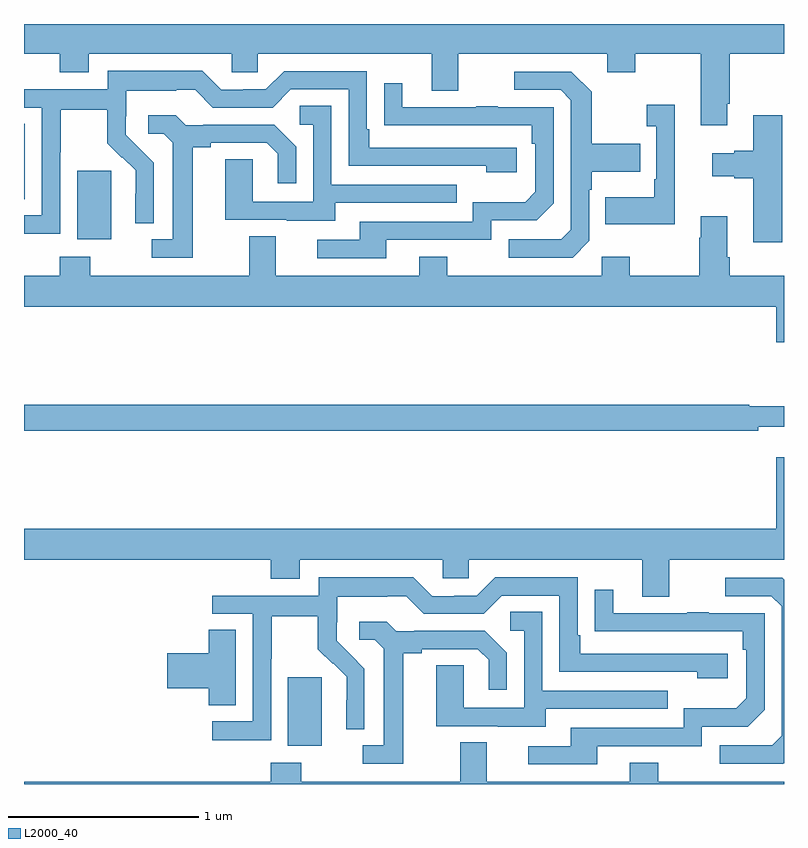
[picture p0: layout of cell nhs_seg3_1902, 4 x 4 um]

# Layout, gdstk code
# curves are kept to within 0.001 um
import gdstk
lib = gdstk.Library(unit=1e-6, precision=1e-09)
def R(c, l, rs):  # rectangles x0, y0, x1, y1
    for r in rs: c.add(gdstk.rectangle(r[:2], r[2:], *l))
def P(c, l, *ps):  # polygons
    for p in ps: c.add(gdstk.Polygon(p, *l))
L2000_40 = (2000, 40)

nhs_seg3_1902 = lib.new_cell('nhs_seg3_1902')
R(nhs_seg3_1902, L2000_40, [(210.389,702.602,210.568,702.963), (209.279,705.266,209.458,705.627), (209,705.478,209.005,705.875)])
P(nhs_seg3_1902, L2000_40, [(212.701,705.979),(212.714,705.979),(212.714,706.244),(213,706.244),(213,706.4),(209,706.4),(209,706.244),(209.189,706.244),(209.189,706.145),(209.341,706.145),(209.341,706.244),(210.093,706.244),(210.093,706.146),(210.231,706.146),(210.231,706.244),(211.145,706.244),(211.145,706.05),(211.285,706.05),(211.285,706.244),(212.069,706.244),(212.069,706.145),(212.217,706.145),(212.217,706.244),(212.561,706.244),(212.561,705.867),(212.701,705.867)],
  [(209.19,705.724),(209.193,705.724),(209.193,705.948),(209.437,705.948),(209.437,705.773),(209.514,705.696),(209.517,705.699),(209.588,705.629),(209.588,705.506),(209.586,705.506),(209.586,705.352),(209.682,705.352),(209.682,705.67),(209.536,705.818),(209.536,705.915),(209.538,705.915),(209.538,706.049),(209.801,706.049),(209.801,706.053),(209.901,706.053),(209.994,705.96),(210.309,705.96),(210.405,706.056),(210.708,706.056),(210.708,705.654),(211.433,705.654),(211.433,705.62),(211.594,705.62),(211.594,705.75),(210.817,705.75),(210.817,705.847),(210.804,705.847),(210.804,706.152),(210.369,706.152),(210.273,706.056),(210.155,706.056),(210.155,706.053),(210.039,706.053),(209.939,706.153),(209.442,706.153),(209.442,706.056),(209,706.056),(209,705.96),(209.094,705.96),(209.094,705.393),(209,705.393),(209,705.295),(209.19,705.295)],
  [(211.974,705.258),(211.974,705.527),(211.987,705.527),(211.987,705.623),(212.243,705.623),(212.243,705.771),(211.987,705.771),(211.987,706.043),(211.881,706.149),(211.581,706.149),(211.581,706.053),(211.824,706.053),(211.878,705.999),(211.878,705.318),(211.827,705.267),(211.551,705.267),(211.551,705.171),(211.887,705.171)],
  [(210.907,705.264),(211.458,705.264),(211.458,705.366),(211.698,705.366),(211.788,705.456),(211.788,705.963),(211.493,705.963),(211.493,705.968),(211.381,705.968),(211.381,705.963),(210.991,705.963),(210.991,706.087),(210.895,706.087),(210.895,705.868),(211.672,705.867),(211.672,705.77),(211.692,705.77),(211.692,705.516),(211.639,705.463),(211.362,705.463),(211.362,705.36),(210.767,705.36),(210.767,705.264),(210.543,705.264),(210.543,705.168),(210.907,705.168)],
  [(212.426,705.976),(212.277,705.976),(212.277,705.863),(212.328,705.863),(212.328,705.583),(212.316,705.583),(212.316,705.487),(212.059,705.487),(212.059,705.347),(212.426,705.347)],
  [(210.637,705.459),(211.277,705.459),(211.277,705.555),(210.618,705.555),(210.618,705.971),(210.45,705.971),(210.45,705.87),(210.522,705.87),(210.522,705.465),(210.204,705.465),(210.204,705.689),(210.059,705.689),(210.059,705.369),(210.383,705.369),(210.383,705.365),(210.637,705.365)],
  [(209.887,705.752),(209.983,705.752),(209.983,705.774),(210.278,705.774),(210.335,705.717),(210.335,705.561),(210.432,705.561),(210.432,705.754),(210.316,705.87),(209.944,705.87),(209.944,705.867),(209.85,705.867),(209.798,705.919),(209.655,705.919),(209.655,705.822),(209.736,705.822),(209.783,705.775),(209.783,705.267),(209.673,705.267),(209.673,705.171),(209.887,705.171)],
  [(212.992,705.919),(212.837,705.919),(212.837,705.734),(212.738,705.734),(212.738,705.721),(212.622,705.721),(212.622,705.599),(212.738,705.599),(212.738,705.587),(212.837,705.587),(212.837,705.252),(212.992,705.252)],
  [(213,705.076),(212.714,705.076),(212.714,705.172),(212.701,705.172),(212.701,705.388),(212.561,705.388),(212.561,705.275),(212.554,705.275),(212.554,705.076),(212.187,705.076),(212.187,705.175),(212.04,705.175),(212.04,705.076),(211.227,705.076),(211.227,705.175),(211.079,705.175),(211.079,705.076),(210.325,705.076),(210.325,705.284),(210.185,705.284),(210.185,705.076),(209.349,705.076),(209.349,705.175),(209.189,705.175),(209.189,705.076),(209,705.076),(209,704.912),(212.96,704.912),(212.96,704.724),(213,704.724)],
  [(212.864,704.279),(213,704.279),(213,704.389),(212.818,704.389),(212.818,704.396),(209,704.396),(209,704.26),(212.864,704.26)],
  [(209,703.58),(210.299,703.58),(210.299,703.481),(210.451,703.481),(210.451,703.58),(211.203,703.58),(211.203,703.482),(211.341,703.482),(211.341,703.58),(212.255,703.58),(212.255,703.386),(212.395,703.386),(212.395,703.58),(213,703.58),(213,704.119),(212.96,704.119),(212.96,703.744),(209,703.744)],
  [(210.3,703.06),(210.303,703.06),(210.303,703.284),(210.547,703.284),(210.547,703.109),(210.624,703.032),(210.627,703.035),(210.698,702.965),(210.698,702.842),(210.696,702.842),(210.696,702.688),(210.792,702.688),(210.792,703.006),(210.646,703.154),(210.646,703.251),(210.648,703.251),(210.648,703.385),(210.911,703.385),(210.911,703.389),(211.011,703.389),(211.104,703.296),(211.419,703.296),(211.515,703.392),(211.818,703.392),(211.818,702.99),(212.543,702.99),(212.543,702.956),(212.704,702.956),(212.704,703.086),(211.927,703.086),(211.927,703.183),(211.914,703.183),(211.914,703.488),(211.479,703.488),(211.383,703.392),(211.265,703.392),(211.265,703.389),(211.149,703.389),(211.049,703.489),(210.552,703.489),(210.552,703.392),(209.991,703.392),(209.991,703.296),(210.204,703.296),(210.204,702.729),(209.991,702.729),(209.991,702.631),(210.3,702.631)],
  [(213,702.51),(213,703.476),(212.991,703.485),(212.691,703.485),(212.691,703.389),(212.934,703.389),(212.988,703.335),(212.988,702.654),(212.937,702.603),(212.661,702.603),(212.661,702.507),(212.997,702.507)],
  [(212.017,702.6),(212.568,702.6),(212.568,702.702),(212.808,702.702),(212.898,702.792),(212.898,703.299),(212.603,703.299),(212.603,703.304),(212.491,703.304),(212.491,703.299),(212.101,703.299),(212.101,703.423),(212.005,703.423),(212.005,703.204),(212.782,703.203),(212.782,703.106),(212.802,703.106),(212.802,702.852),(212.749,702.799),(212.472,702.799),(212.472,702.696),(211.877,702.696),(211.877,702.6),(211.653,702.6),(211.653,702.504),(212.017,702.504)],
  [(211.747,702.795),(212.387,702.795),(212.387,702.891),(211.728,702.891),(211.728,703.307),(211.56,703.307),(211.56,703.206),(211.632,703.206),(211.632,702.801),(211.314,702.801),(211.314,703.025),(211.169,703.025),(211.169,702.705),(211.493,702.705),(211.493,702.701),(211.747,702.701)],
  [(210.997,703.088),(211.093,703.088),(211.093,703.11),(211.388,703.11),(211.445,703.053),(211.445,702.897),(211.542,702.897),(211.542,703.09),(211.426,703.206),(211.054,703.206),(211.054,703.203),(210.96,703.203),(210.908,703.255),(210.765,703.255),(210.765,703.158),(210.846,703.158),(210.893,703.111),(210.893,702.603),(210.783,702.603),(210.783,702.507),(210.997,702.507)],
  [(210.115,703.211),(209.972,703.211),(209.972,703.088),(209.754,703.088),(209.754,702.905),(209.972,702.905),(209.972,702.814),(210.115,702.814)],
  [(213,702.412),(212.337,702.412),(212.337,702.511),(212.189,702.511),(212.189,702.412),(211.435,702.412),(211.435,702.62),(211.295,702.62),(211.295,702.412),(210.459,702.412),(210.459,702.511),(210.299,702.511),(210.299,702.412),(209,702.412),(209,702.4),(213,702.4)])

lib.write_gds('nhs_seg3_1902.gds')
